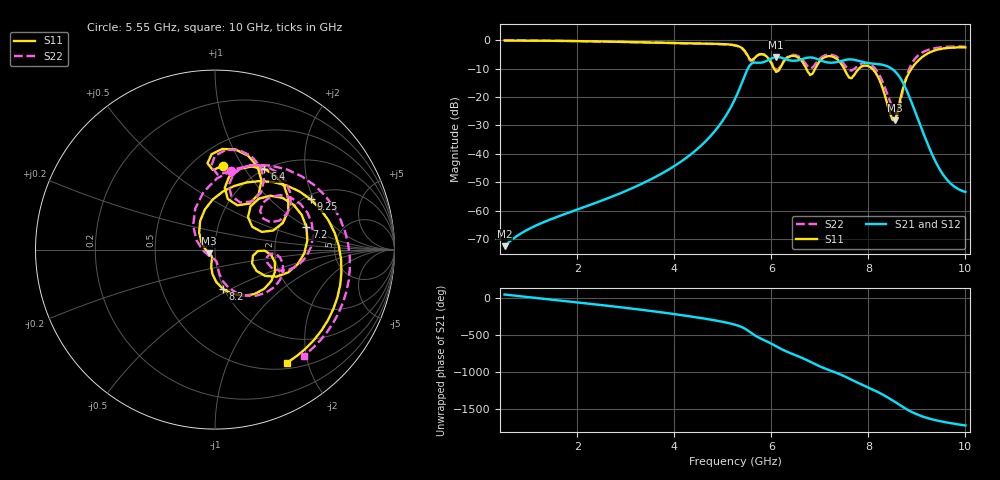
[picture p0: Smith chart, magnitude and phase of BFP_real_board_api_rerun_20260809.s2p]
! Touchstone file exported from HFSS 3D Layout Design 2026.1.0
!  File:  D:/Work/ADS/BFP_parallel/BFP_HFSS.aedt
!  Generated:  03:03:48 PM Aug  9, 2026
!  Design:  BFP
!  Project:  BFP_HFSS
! Variables:
!  BendModel = 0
# GHz S MA R 50.000000
! Terminal data exported
! Port[1] = Port1
! Port[2] = Port2
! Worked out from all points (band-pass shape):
!   191 points, 500 MHz to 10 GHz, reference 50 ohm
!   highest |S21| = -5.92 dB at 6.1 GHz (marker M1); lowest = -72.5 dB at 500 MHz (marker M2)
!   |S21| within 3 dB of the highest: 5.552 GHz to 8.349 GHz (2.797 GHz wide, 40.2 % of centre)
!   lowest |S11| = -28.2 dB at 8.55 GHz (marker M3), VSWR 1.08, Z = 46.8 - j1.93 ohm
!   |S11| at or under -10 dB: 6.719 GHz to 6.904 GHz (185.2 MHz wide, 2.72 % of centre); 7.5 GHz to 7.805 GHz (304.7 MHz wide, 3.98 % of centre); 8.076 GHz to 8.889 GHz (813.3 MHz wide, 9.59 % of centre)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
!   |S22| runs from -26.3 to -0.1 dB; largest |S21 - S12| = 2.4e-13
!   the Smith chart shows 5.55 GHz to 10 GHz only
!   S11 on the Smith chart (normalised r, x): 5.55 GHz: 0.69, +0.83; 6.4 GHz: 0.99, +1.24; 7.2 GHz: 2.83, +0.98; 8.2 GHz: 0.99, -0.46; 9.25 GHz: 2.15, +1.89; 10 GHz: 0.58, -1.66
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0.5  0.9898 142.3  0.0002374 51.4  0.0002374 51.4  0.9898 142.1
1.25  0.9804 87.1  0.0005998 -2.9  0.0005998 -2.9  0.9808 87.2
2.1  0.9619 26.1  0.001125 -62.9  0.001125 -62.9  0.9632 27.7
2.85  0.9369 -28.2  0.001968 -118.0  0.001968 -118.0  0.938 -25.4
3.7  0.9031 -94.2  0.004316 172.8  0.004316 172.8  0.8999 -92.1
4.55  0.8738 -168.9  0.01393 92.3  0.01393 92.3  0.867 -170.9
5.25  0.8135 117.0  0.09249 2.2  0.09249 2.2  0.8096 111.6
5.55  0.4702 84.3  0.3568 -93.2  0.3568 -93.2  0.4447 78.7
5.8  0.5694 78.4  0.404 167.4  0.404 167.4  0.5704 76.4
6.1  0.2765 63.2  0.5058 68.5  0.5058 68.5  0.2977 61.6
6.4  0.5267 58.5  0.4381 -26.2  0.4381 -26.2  0.545 58.2
6.65  0.4057 21.4  0.4692 -93.9  0.4692 -93.9  0.4476 26.5
6.85  0.2581 44.6  0.493 -158.0  0.493 -158.0  0.3308 40.5
7.2  0.5246 13.8  0.4025 103.9  0.4025 103.9  0.5588 15.0
7.6  0.2205 -20.3  0.4591 -7.8  0.4591 -7.8  0.3 -14.1
7.85  0.3408 -12.0  0.4212 -86.5  0.4212 -86.5  0.3859 -11.6
8.2  0.225 -78.2  0.3798 166.2  0.3798 166.2  0.2676 -63.8
8.45  0.05014 -109.0  0.3276 74.5  0.3276 74.5  0.08214 -80.8
8.55  0.03876 -147.8  0.2818 33.6  0.2818 33.6  0.05267 -97.1
8.8  0.2305 104.2  0.1248 -69.9  0.1248 -69.9  0.2538 115.7
9.25  0.602 27.7  0.0131 168.1  0.0131 168.1  0.6835 26.0
10  0.7472 -57.7  0.002134 74.2  0.002134 74.2  0.7707 -50.0
